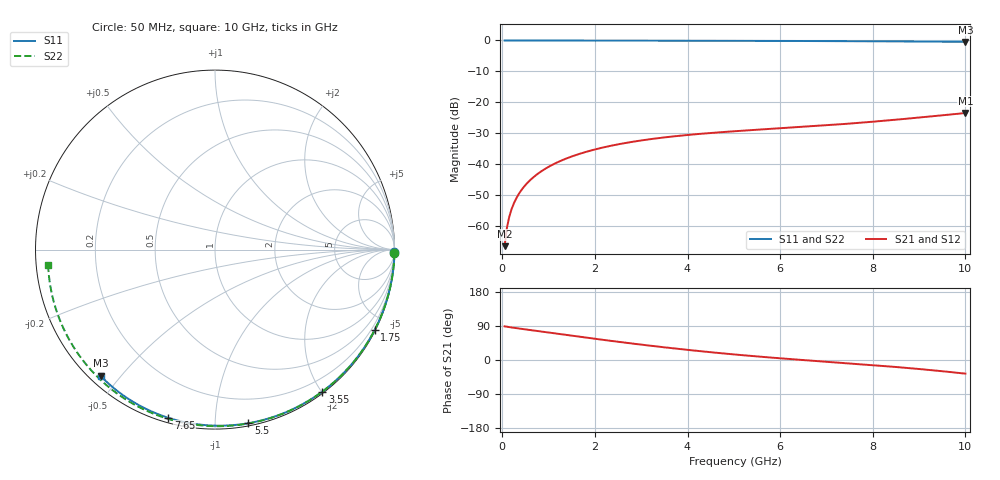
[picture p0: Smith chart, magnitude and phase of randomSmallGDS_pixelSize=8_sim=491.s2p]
! freq	dB(S11)	phase(S11)	dB(S12)	phase(S12)
!  dB(S21)	phase(S21)	dB(S22)	phase(S22)
!S-par simulation data
#  GHz  S  DB  R 50
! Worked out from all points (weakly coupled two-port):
!   200 points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, 50 MHz to 10 GHz, reference 50 ohm
!   highest |S21| = -23.48 dB at 10 GHz (marker M1); lowest = -66.6 dB at 50 MHz (marker M2)
!   lowest |S11| = -0.5 dB at 10 GHz (marker M3), VSWR 38.41, Z = 1.56 - j22.1 ohm
!   |S11| at or under -10 dB: nowhere
!   |S22| runs from -0.6 to 0.0 dB; largest |S21 - S12| = 0
!   S11 on the Smith chart (normalised r, x): 50 MHz: open; 1.75 GHz: 0.04, -4.21; 3.55 GHz: 0.02, -2.01; 5.5 GHz: 0.02, -1.21; 7.65 GHz: 0.02, -0.76; 10 GHz: 0.03, -0.44
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0.05  -0.00 -0.8  -66.57 88.8  -66.57 88.8  -0.00 -1.0
0.1  -0.00 -1.6  -60.58 87.8  -60.58 87.8  -0.00 -1.9
0.15  -0.00 -2.3  -57.09 86.7  -57.09 86.7  -0.00 -2.9
0.2  -0.00 -3.1  -54.62 85.8  -54.62 85.8  -0.00 -3.9
0.25  -0.00 -3.9  -52.71 84.9  -52.71 84.9  -0.00 -4.9
0.35  -0.00 -5.4  -49.83 83.2  -49.83 83.2  -0.00 -6.8
0.5  -0.01 -7.7  -46.78 80.8  -46.78 80.8  -0.01 -9.7
0.7  -0.01 -10.8  -43.91 77.4  -43.91 77.4  -0.01 -13.6
1  -0.02 -15.4  -40.89 72.4  -40.89 72.4  -0.02 -19.3
1.35  -0.03 -20.7  -38.40 66.6  -38.40 66.6  -0.03 -26.0
1.75  -0.03 -26.7  -36.31 60.0  -36.31 60.0  -0.04 -33.5
2.6  -0.05 -39.3  -33.34 46.6  -33.34 46.6  -0.07 -49.2
3.4  -0.07 -50.8  -31.56 34.8  -31.56 34.8  -0.09 -63.5
3.55  -0.07 -52.9  -31.29 32.7  -31.29 32.7  -0.09 -66.1
4.3  -0.09 -63.3  -30.19 23.0  -30.19 23.0  -0.12 -79.0
5.05  -0.12 -73.3  -29.34 14.2  -29.34 14.2  -0.15 -91.6
5.5  -0.13 -79.2  -28.90 9.4  -28.90 9.4  -0.17 -99.0
6.7  -0.18 -94.2  -27.76 -1.9  -27.76 -1.9  -0.24 -118.4
7.65  -0.24 -105.5  -26.72 -10.3  -26.72 -10.3  -0.31 -133.7
8.35  -0.29 -113.6  -25.84 -16.9  -25.84 -16.9  -0.38 -145.3
9.2  -0.37 -123.3  -24.66 -26.0  -24.66 -26.0  -0.48 -159.9
10  -0.45 -132.2  -23.48 -36.0  -23.48 -36.0  -0.60 -174.8
